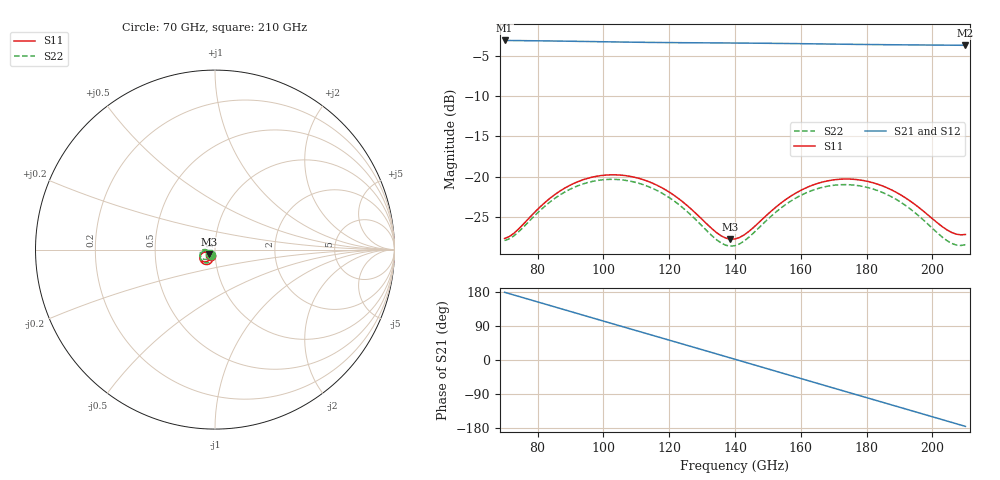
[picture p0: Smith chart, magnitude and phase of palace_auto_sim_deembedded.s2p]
! Created with skrf 1.11.0 (http://scikit-rf.org).
# GHz S DB R 50.0
!freq dBS11 angS11 dBS21 angS21 dBS12 angS12 dBS22 angS22
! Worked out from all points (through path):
!   101 points, 70 GHz to 210 GHz, reference 50 ohm
!   highest |S21| = -3.13 dB at 70 GHz (marker M1); lowest = -3.7 dB at 210 GHz (marker M2)
!   group delay of S21, straight-line fit = 7.02 ps
!   lowest |S11| = -27.7 dB at 138.6 GHz (marker M3), VSWR 1.09, Z = 46.7 - j2.24 ohm
!   |S11| at or under -10 dB: start of sweep to end of sweep
!   |S22| runs from -28.6 to -20.3 dB; largest |S21 - S12| = 8.1e-14
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70  -27.65 -123.2  -3.13 178.6  -3.13 178.6  -27.91 -126.9
75.6  -25.93 -107.1  -3.15 164.5  -3.15 164.5  -26.30 -111.4
81.2  -23.59 -104.4  -3.18 150.3  -3.18 150.3  -24.03 -109.0
88.2  -21.44 -111.1  -3.22 132.6  -3.22 132.6  -21.92 -116.0
93.8  -20.39 -119.6  -3.25 118.4  -3.25 118.4  -20.91 -124.9
99.4  -19.86 -129.3  -3.29 104.3  -3.29 104.3  -20.41 -134.9
105  -19.80 -139.1  -3.32 90.2  -3.32 90.2  -20.37 -145.2
110.6  -20.19 -148.6  -3.35 76.1  -3.35 76.1  -20.80 -155.1
117.6  -21.33 -159.0  -3.38 58.4  -3.38 58.4  -22.00 -165.9
128.8  -24.82 -165.4  -3.42 30.2  -3.42 30.2  -25.62 -172.9
134.4  -26.93 -157.4  -3.43 16.1  -3.43 16.1  -27.82 -164.6
138.6  -27.75 -144.3  -3.44 5.5  -3.44 5.5  -28.61 -150.9
140  -27.72 -139.4  -3.45 1.9  -3.45 1.9  -28.55 -145.9
145.6  -26.30 -124.2  -3.47 -12.3  -3.47 -12.3  -26.99 -130.9
151.2  -24.20 -119.6  -3.49 -26.5  -3.49 -26.5  -24.82 -127.2
163.8  -21.02 -130.0  -3.55 -58.5  -3.55 -58.5  -21.66 -139.3
175  -20.30 -146.2  -3.61 -86.8  -3.61 -86.8  -21.01 -156.8
180.6  -20.62 -154.3  -3.63 -100.9  -3.63 -100.9  -21.37 -165.5
187.6  -21.65 -163.0  -3.66 -118.5  -3.66 -118.5  -22.50 -174.9
198.8  -24.80 -167.0  -3.70 -146.8  -3.70 -146.8  -25.95 -179.5
205.8  -26.91 -155.2  -3.72 -164.5  -3.72 -164.5  -28.26 -166.1
210  -27.17 -142.6  -3.73 -175.2  -3.73 -175.2  -28.43 -152.1
